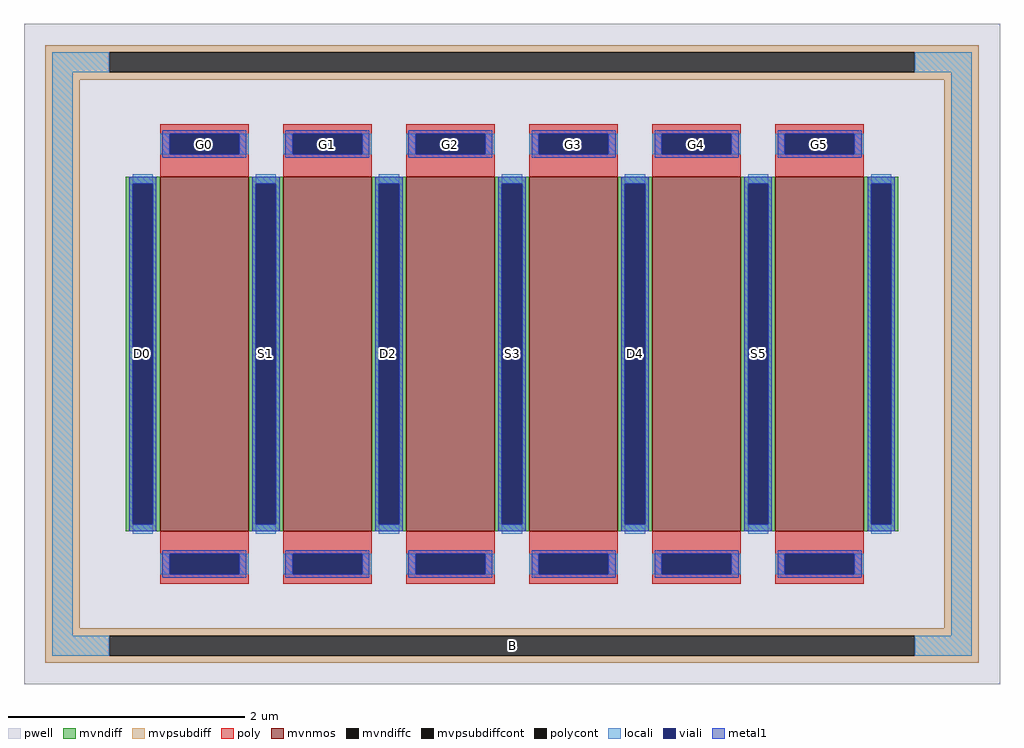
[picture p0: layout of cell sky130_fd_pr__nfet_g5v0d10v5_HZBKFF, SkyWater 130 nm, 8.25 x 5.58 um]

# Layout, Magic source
magic
tech sky130A
magscale 1 2
<< pwell >>
rect -825 -558 825 558
<< mvnmos >>
rect -595 -300 -445 300
rect -387 -300 -237 300
rect -179 -300 -29 300
rect 29 -300 179 300
rect 237 -300 387 300
rect 445 -300 595 300
<< mvndiff >>
rect -653 288 -595 300
rect -653 -288 -641 288
rect -607 -288 -595 288
rect -653 -300 -595 -288
rect -445 288 -387 300
rect -445 -288 -433 288
rect -399 -288 -387 288
rect -445 -300 -387 -288
rect -237 288 -179 300
rect -237 -288 -225 288
rect -191 -288 -179 288
rect -237 -300 -179 -288
rect -29 288 29 300
rect -29 -288 -17 288
rect 17 -288 29 288
rect -29 -300 29 -288
rect 179 288 237 300
rect 179 -288 191 288
rect 225 -288 237 288
rect 179 -300 237 -288
rect 387 288 445 300
rect 387 -288 399 288
rect 433 -288 445 288
rect 387 -300 445 -288
rect 595 288 653 300
rect 595 -288 607 288
rect 641 -288 653 288
rect 595 -300 653 -288
<< mvndiffc >>
rect -641 -288 -607 288
rect -433 -288 -399 288
rect -225 -288 -191 288
rect -17 -288 17 288
rect 191 -288 225 288
rect 399 -288 433 288
rect 607 -288 641 288
<< mvpsubdiff >>
rect -789 510 789 522
rect -789 476 -681 510
rect 681 476 789 510
rect -789 464 789 476
rect -789 -464 -731 464
rect 731 -464 789 464
rect -789 -476 789 -464
rect -789 -510 -681 -476
rect 681 -510 789 -476
rect -789 -522 789 -510
<< mvpsubdiffcont >>
rect -681 476 681 510
rect -681 -510 681 -476
<< poly >>
rect -595 372 -445 388
rect -595 338 -579 372
rect -461 338 -445 372
rect -595 300 -445 338
rect -387 372 -237 388
rect -387 338 -371 372
rect -253 338 -237 372
rect -387 300 -237 338
rect -179 372 -29 388
rect -179 338 -163 372
rect -45 338 -29 372
rect -179 300 -29 338
rect 29 372 179 388
rect 29 338 45 372
rect 163 338 179 372
rect 29 300 179 338
rect 237 372 387 388
rect 237 338 253 372
rect 371 338 387 372
rect 237 300 387 338
rect 445 372 595 388
rect 445 338 461 372
rect 579 338 595 372
rect 445 300 595 338
rect -595 -338 -445 -300
rect -595 -372 -579 -338
rect -461 -372 -445 -338
rect -595 -388 -445 -372
rect -387 -338 -237 -300
rect -387 -372 -371 -338
rect -253 -372 -237 -338
rect -387 -388 -237 -372
rect -179 -338 -29 -300
rect -179 -372 -163 -338
rect -45 -372 -29 -338
rect -179 -388 -29 -372
rect 29 -338 179 -300
rect 29 -372 45 -338
rect 163 -372 179 -338
rect 29 -388 179 -372
rect 237 -338 387 -300
rect 237 -372 253 -338
rect 371 -372 387 -338
rect 237 -388 387 -372
rect 445 -338 595 -300
rect 445 -372 461 -338
rect 579 -372 595 -338
rect 445 -388 595 -372
<< polycont >>
rect -579 338 -461 372
rect -371 338 -253 372
rect -163 338 -45 372
rect 45 338 163 372
rect 253 338 371 372
rect 461 338 579 372
rect -579 -372 -461 -338
rect -371 -372 -253 -338
rect -163 -372 -45 -338
rect 45 -372 163 -338
rect 253 -372 371 -338
rect 461 -372 579 -338
<< locali >>
rect -777 476 -681 510
rect 681 476 777 510
rect -777 -476 -743 476
rect -595 338 -579 372
rect -461 338 -445 372
rect -387 338 -371 372
rect -253 338 -237 372
rect -179 338 -163 372
rect -45 338 -29 372
rect 29 338 45 372
rect 163 338 179 372
rect 237 338 253 372
rect 371 338 387 372
rect 445 338 461 372
rect 579 338 595 372
rect -641 288 -607 304
rect -641 -304 -607 -288
rect -433 288 -399 304
rect -433 -304 -399 -288
rect -225 288 -191 304
rect -225 -304 -191 -288
rect -17 288 17 304
rect -17 -304 17 -288
rect 191 288 225 304
rect 191 -304 225 -288
rect 399 288 433 304
rect 399 -304 433 -288
rect 607 288 641 304
rect 607 -304 641 -288
rect -595 -372 -579 -338
rect -461 -372 -445 -338
rect -387 -372 -371 -338
rect -253 -372 -237 -338
rect -179 -372 -163 -338
rect -45 -372 -29 -338
rect 29 -372 45 -338
rect 163 -372 179 -338
rect 237 -372 253 -338
rect 371 -372 387 -338
rect 445 -372 461 -338
rect 579 -372 595 -338
rect 743 -476 777 476
rect -777 -510 -681 -476
rect 681 -510 777 -476
<< viali >>
rect -579 338 -461 372
rect -371 338 -253 372
rect -163 338 -45 372
rect 45 338 163 372
rect 253 338 371 372
rect 461 338 579 372
rect -641 -288 -607 288
rect -433 -288 -399 288
rect -225 -288 -191 288
rect -17 -288 17 288
rect 191 -288 225 288
rect 399 -288 433 288
rect 607 -288 641 288
rect -579 -372 -461 -338
rect -371 -372 -253 -338
rect -163 -372 -45 -338
rect 45 -372 163 -338
rect 253 -372 371 -338
rect 461 -372 579 -338
<< metal1 >>
rect -591 372 -449 378
rect -591 338 -579 372
rect -461 338 -449 372
rect -591 332 -449 338
rect -383 372 -241 378
rect -383 338 -371 372
rect -253 338 -241 372
rect -383 332 -241 338
rect -175 372 -33 378
rect -175 338 -163 372
rect -45 338 -33 372
rect -175 332 -33 338
rect 33 372 175 378
rect 33 338 45 372
rect 163 338 175 372
rect 33 332 175 338
rect 241 372 383 378
rect 241 338 253 372
rect 371 338 383 372
rect 241 332 383 338
rect 449 372 591 378
rect 449 338 461 372
rect 579 338 591 372
rect 449 332 591 338
rect -647 288 -601 300
rect -647 -288 -641 288
rect -607 -288 -601 288
rect -647 -300 -601 -288
rect -439 288 -393 300
rect -439 -288 -433 288
rect -399 -288 -393 288
rect -439 -300 -393 -288
rect -231 288 -185 300
rect -231 -288 -225 288
rect -191 -288 -185 288
rect -231 -300 -185 -288
rect -23 288 23 300
rect -23 -288 -17 288
rect 17 -288 23 288
rect -23 -300 23 -288
rect 185 288 231 300
rect 185 -288 191 288
rect 225 -288 231 288
rect 185 -300 231 -288
rect 393 288 439 300
rect 393 -288 399 288
rect 433 -288 439 288
rect 393 -300 439 -288
rect 601 288 647 300
rect 601 -288 607 288
rect 641 -288 647 288
rect 601 -300 647 -288
rect -591 -338 -449 -332
rect -591 -372 -579 -338
rect -461 -372 -449 -338
rect -591 -378 -449 -372
rect -383 -338 -241 -332
rect -383 -372 -371 -338
rect -253 -372 -241 -338
rect -383 -378 -241 -372
rect -175 -338 -33 -332
rect -175 -372 -163 -338
rect -45 -372 -33 -338
rect -175 -378 -33 -372
rect 33 -338 175 -332
rect 33 -372 45 -338
rect 163 -372 175 -338
rect 33 -378 175 -372
rect 241 -338 383 -332
rect 241 -372 253 -338
rect 371 -372 383 -338
rect 241 -378 383 -372
rect 449 -338 591 -332
rect 449 -372 461 -338
rect 579 -372 591 -338
rect 449 -378 591 -372
<< labels >>
rlabel mvpsubdiffcont 0 -493 0 -493 0 B
port 1 nsew
rlabel mvndiffc -624 0 -624 0 0 D0
port 2 nsew
rlabel polycont -520 355 -520 355 0 G0
port 3 nsew
rlabel mvndiffc -416 0 -416 0 0 S1
port 4 nsew
rlabel polycont -312 355 -312 355 0 G1
port 5 nsew
rlabel mvndiffc -208 0 -208 0 0 D2
port 6 nsew
rlabel polycont -104 355 -104 355 0 G2
port 7 nsew
rlabel mvndiffc 0 0 0 0 0 S3
port 8 nsew
rlabel polycont 104 355 104 355 0 G3
port 9 nsew
rlabel mvndiffc 208 0 208 0 0 D4
port 10 nsew
rlabel polycont 312 355 312 355 0 G4
port 11 nsew
rlabel mvndiffc 416 0 416 0 0 S5
port 12 nsew
rlabel polycont 520 355 520 355 0 G5
port 13 nsew
<< properties >>
string FIXED_BBOX -760 -493 760 493
string gencell sky130_fd_pr__nfet_g5v0d10v5
string library sky130
string parameters w 3.0 l 0.75 m 1 nf 6 diffcov 100 polycov 100 guard 1 glc 0 grc 0 gtc 1 gbc 1 tbcov 100 rlcov 100 topc 1 botc 1 poverlap 0 doverlap 1 lmin 0.50 wmin 0.42 class mosfet compatible {sky130_fd_pr__nfet_01v8 sky130_fd_pr__nfet_01v8_lvt  sky130_fd_bs_flash__special_sonosfet_star  sky130_fd_pr__nfet_g5v0d10v5 sky130_fd_pr__nfet_05v0_nvt  sky130_fd_pr__nfet_03v3_nvt} full_metal 1 conn_gates 0 viasrc 100 viadrn 100 viagate 100 viagb 0 viagr 0 viagl 0 viagt 0 doports 1
<< end >>
